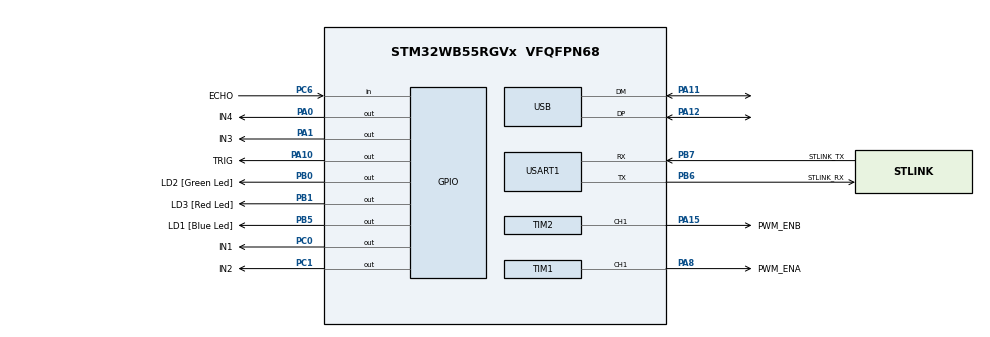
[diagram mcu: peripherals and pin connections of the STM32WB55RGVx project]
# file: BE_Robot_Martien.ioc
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Mcu.Family=STM32WB
Mcu.Name=STM32WB55RGVx
Mcu.Package=VFQFPN68
NVIC.PriorityGroup=NVIC_PRIORITYGROUP_4
OSC_IN.Signal=RCC_OSC_IN
OSC_OUT.Signal=RCC_OSC_OUT
PA0.GPIO_Label=IN4
PA0.Signal=GPIO_Output
PA1.GPIO_Label=IN3
PA1.Signal=GPIO_Output
PA10.GPIO_Label=TRIG
PA10.Signal=GPIO_Output
PA11.Mode=Device
PA11.Signal=USB_DM
PA12.Mode=Device
PA12.Signal=USB_DP
PA13.GPIO_Label=JTMS
PA13.Mode=Serial_Wire
PA13.Signal=SYS_JTMS-SWDIO
PA14.GPIO_Label=JTCK
PA14.Mode=Serial_Wire
PA14.Signal=SYS_JTCK-SWCLK
PA15.GPIO_Label=PWM_ENB
PA15.Signal=S_TIM2_CH1
PA8.GPIO_Label=PWM_ENA
PA8.Signal=S_TIM1_CH1
PB0.GPIO_Label=LD2 [Green Led]
PB0.Signal=GPIO_Output
PB1.GPIO_Label=LD3 [Red Led]
PB1.Signal=GPIO_Output
PB3.GPIO_Label=JTDO
PB3.Signal=SYS_JTDO-SWO
PB5.GPIO_Label=LD1 [Blue Led]
PB5.Signal=GPIO_Output
PB6.GPIO_Label=STLINK_RX
PB6.GPIO_PuPd=GPIO_PULLUP
PB6.Mode=Asynchronous
PB6.Signal=USART1_TX
PB7.GPIO_Label=STLINK_TX
PB7.GPIO_PuPd=GPIO_PULLUP
PB7.Mode=Asynchronous
PB7.Signal=USART1_RX
PC0.GPIO_Label=IN1
PC0.Signal=GPIO_Output
PC1.GPIO_Label=IN2
PC1.Signal=GPIO_Output
PC13.Mode=SYS_WakeUp1
PC13.Signal=SYS_WKUP2
PC14-OSC32_IN.Signal=RCC_OSC32_IN
PC15-OSC32_OUT.Signal=RCC_OSC32_OUT
PC6.GPIO_Label=ECHO
PC6.Signal=GPIO_Input
ProjectManager.HeapSize=0x200
ProjectManager.StackSize=0x400
ProjectManager.TargetToolchain=STM32CubeIDE
RCC.ADCFreq_Value=48000000
RCC.AHBFreq_Value=32000000
RCC.APB1Freq_Value=32000000
RCC.APB1TimFreq_Value=32000000
RCC.APB2Freq_Value=32000000
RCC.APB2TimFreq_Value=32000000
RCC.APB3Freq_Value=16000000
RCC.CortexFreq_Value=32000000
RCC.HCLKFreq_Value=32000000
RCC.HSE_VALUE=32000000
RCC.HSI48_VALUE=48000000
RCC.HSI_VALUE=16000000
RCC.LSE_VALUE=32768
RCC.PLLN=64
RCC.PLLR=RCC_PLLR_DIV8
RCC.PLLSAI1N=24
RCC.SMPSCLockSelection=RCC_SMPSCLKSOURCE_HSI
RCC.SMPSCLockSelectionVirtual=RCC_SMPSCLKSOURCE_HSI
RCC.SMPSCLockSelectionVirtualVirtual=RCC_SMPSCLKSOURCE_HSI
RCC.SMPSDivider=1
RCC.SYSCLKFreq_VALUE=32000000
RCC.SYSCLKSource=RCC_SYSCLKSOURCE_PLLCLK
RCC.USBFreq_Value=48000000
RCC.VCOOutputFreq_Value=256000000
SH.S_TIM1_CH1.0=TIM1_CH1,PWM Generation1 CH1
SH.S_TIM2_CH1.0=TIM2_CH1,PWM Generation1 CH1
TIM1.Channel-PWM\ Generation1\ CH1=TIM_CHANNEL_1
TIM1.Period=999
TIM1.Prescaler=31
TIM16.Prescaler=31
TIM2.Channel-PWM\ Generation1\ CH1=TIM_CHANNEL_1
TIM2.Period=999
TIM2.Prescaler=31
USART1.VirtualMode-Asynchronous=VM_ASYNC
USART1.WordLength=WORDLENGTH_7B
VP_MEMORYMAP_VS_MEMORYMAP.Mode=CurAppReg
VP_TIM16_VS_ClockSourceINT.Mode=Enable_Timer
VP_TIM1_VS_ClockSourceINT.Mode=Internal
VP_TIM2_VS_ClockSourceINT.Mode=Internal
board=NUCLEO-WB55RG

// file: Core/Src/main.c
/* USER CODE BEGIN Header */
/**
  ******************************************************************************
  * @file           : main.c
  * @brief          : Main program body
  ******************************************************************************
  * @attention
  *
  * Copyright (c) 2024 STMicroelectronics.
  * All rights reserved.
  *
  * This software is licensed under terms that can be found in the LICENSE file
  * in the root directory of this software component.
  * If no LICENSE file comes with this software, it is provided AS-IS.
  *
  ******************************************************************************
  */
/* USER CODE END Header */
#include "main.h"
#include "memorymap.h"
#include "tim.h"
#include "usart.h"
#include "usb.h"
#include "gpio.h"

/* USER CODE BEGIN PV */

/////*****CAPTEUR HC SR04********//////
#define TRIG_PIN GPIO_PIN_10 //definition du port en sortie
#define TRIG_PORT GPIOA
#define ECHO_PIN GPIO_PIN_6 // defnition du port en entree
#define ECHO_PORT GPIOC

uint32_t Value1 = 0; // l'instant quand echo passe à 1
uint32_t Value2 = 0; // l'instant quand echo passe à 0
uint16_t Distance  = 0;  // en cm

/////*****MOTEUR L298P********//////
const uint16_t pwm =100; // pour ajuster la vitesse des roues
//****Moteur Gauche********
#define IN1_PIN GPIO_PIN_0 //definition du port en sortie
#define IN1_PORT GPIOC
#define IN2_PIN GPIO_PIN_1 //definition du port en sortie
#define IN2_PORT GPIOC

//****Moteur Droite********
#define IN3_PIN GPIO_PIN_1 //definition du port en sortie
#define IN3_PORT GPIOA
#define IN4_PIN GPIO_PIN_0 //definition du port en sortie
#define IN4_PORT GPIOA

/* *****NOTE*********
PWM pour IN1 et IN2 -> PWM_ENA (Timer 1 Channel 1) // Roue Gauche
PWM pour IN2 et IN3 -> PWM_ENB (Timer 2 Channel 1) // Roue Droite
******************************************* */
// ********FIN NOTE*************

/* USER CODE END PV */

void SystemClock_Config(void);
void PeriphCommonClock_Config(void);

/* USER CODE BEGIN 0 */

// Fonction pour mesurer la distance entre le robot et un obstacle
uint16_t Mesure_Distance(void)
{
HAL_GPIO_WritePin(TRIG_PORT, TRIG_PIN, GPIO_PIN_SET);  // pull the TRIG pin HIGH
__HAL_TIM_SET_COUNTER(&htim16, 0);
while (__HAL_TIM_GET_COUNTER(&htim16) < 10);  // wait for 10 us
HAL_GPIO_WritePin(TRIG_PORT, TRIG_PIN, GPIO_PIN_RESET);  // pull the TRIG pin low

while (!(HAL_GPIO_ReadPin (ECHO_PORT, ECHO_PIN)) ); //Attendre que echo passe à l'état haut
Value1 = __HAL_TIM_GET_COUNTER(&htim16); // valeur du timer à laquelle echo passe à l'état haut

while ((HAL_GPIO_ReadPin (ECHO_PORT, ECHO_PIN))); //Attendre que echo passe à l'état bas
Value2 = __HAL_TIM_GET_COUNTER(&htim16); // valeur du timer à laquelle echo passe à l'état bas

// Value2-Value1 : durée pendant laquelle echo reste en etat haut
// On multiplie la moitié de cette durée par la vitesse de l'ultrason pour avoir la distance

Distance = ((Value2-Value1)* 0.034)/2;
HAL_Delay(50);
return Distance;
}

//Fonction pour clignoter la LED verte
void Blink_Green(void)
{
HAL_GPIO_WritePin(LD2_GPIO_Port, LD2_Pin, 1);
HAL_Delay(500);					/* Insert delay 500 ms */
HAL_GPIO_WritePin(LD2_GPIO_Port, LD2_Pin, 0);
HAL_Delay(200);					/* Insert delay 200 ms */
}

//Fonction pour clignoter la LED rouge
void Blink_Red(void)
{
HAL_GPIO_WritePin(LD3_GPIO_Port, LD3_Pin, 1);
HAL_Delay(500);					/* Insert delay 500 ms */
HAL_GPIO_WritePin(LD3_GPIO_Port, LD3_Pin, 0);
HAL_Delay(200);					/* Insert delay 200 ms */
}

// ********LES DIFFERENTS MOUVEMENTS DU ROBOT*******************

// fonction pour initialiser le moteur
void Init_Moteur(void)
{
	HAL_GPIO_WritePin(IN1_PORT, IN1_PIN, GPIO_PIN_RESET);
	HAL_GPIO_WritePin(IN2_PORT, IN2_PIN, GPIO_PIN_RESET);
	// Ajustez le rapport cyclique pour contrôler la vitesse
	__HAL_TIM_SET_COMPARE(&htim1, TIM_CHANNEL_1, pwm); //

	HAL_GPIO_WritePin(IN3_PORT, IN3_PIN, GPIO_PIN_RESET);
	HAL_GPIO_WritePin(IN4_PORT, IN4_PIN, GPIO_PIN_RESET);
	// Ajustez le rapport cyclique pour contrôler la vitesse
	__HAL_TIM_SET_COMPARE(&htim2, TIM_CHANNEL_1, pwm); //

	HAL_Delay(500); // Attendre 0,5 s
}

//fonction pour avancer 1001 (IN1=1 ; IN2=0, IN3=0 ; IN4=1)
void Move_Forward(void)
{
	HAL_GPIO_WritePin(IN1_PORT, IN1_PIN, GPIO_PIN_SET);
	HAL_GPIO_WritePin(IN2_PORT, IN2_PIN, GPIO_PIN_RESET);
	// Ajustez le rapport cyclique pour contrôler la vitesse
	__HAL_TIM_SET_COMPARE(&htim1, TIM_CHANNEL_1, pwm);

	HAL_GPIO_WritePin(IN3_PORT, IN3_PIN, GPIO_PIN_RESET);
	HAL_GPIO_WritePin(IN4_PORT, IN4_PIN, GPIO_PIN_SET);
	// Ajustez le rapport cyclique pour contrôler la vitesse
	__HAL_TIM_SET_COMPARE(&htim2, TIM_CHANNEL_1, pwm);

	HAL_Delay(500); // Attendre 0,5 s
}

//fonction pour reculer 0110 (IN1=0 ; IN2=1, IN3=1 ; IN4=0)
void Move_Backward(void)
{
	HAL_GPIO_WritePin(IN1_PORT, IN1_PIN, GPIO_PIN_RESET);
	HAL_GPIO_WritePin(IN2_PORT, IN2_PIN, GPIO_PIN_SET);
	// Ajustez le rapport cyclique pour contrôler la vitesse
	__HAL_TIM_SET_COMPARE(&htim1, TIM_CHANNEL_1, pwm);

	HAL_GPIO_WritePin(IN3_PORT, IN3_PIN, GPIO_PIN_SET);
	HAL_GPIO_WritePin(IN4_PORT, IN4_PIN, GPIO_PIN_RESET);
	// Ajustez le rapport cyclique pour contrôler la vitesse
	__HAL_TIM_SET_COMPARE(&htim2, TIM_CHANNEL_1, pwm);

	HAL_Delay(500); // Attendre 0,5 s
}

//fonction pour arreter (IN1=0 ; IN2=0, IN3=0 ; IN4=0)
void Stop(void)
{
	HAL_GPIO_WritePin(IN1_PORT, IN1_PIN, GPIO_PIN_RESET);
	HAL_GPIO_WritePin(IN2_PORT, IN2_PIN, GPIO_PIN_RESET);
	// Ajustez le rapport cyclique pour contrôler la vitesse
	__HAL_TIM_SET_COMPARE(&htim1, TIM_CHANNEL_1, pwm);
	HAL_GPIO_WritePin(IN3_PORT, IN3_PIN, GPIO_PIN_RESET);
	HAL_GPIO_WritePin(IN4_PORT, IN4_PIN, GPIO_PIN_RESET);
	// Ajustez le rapport cyclique pour contrôler la vitesse
	__HAL_TIM_SET_COMPARE(&htim2, TIM_CHANNEL_1, pwm);

	HAL_Delay(500); // Attendre 0,5 s
}

//fonction pour tourner a droite 1000 (IN1=1 ; IN2=0, IN3=0 ; IN4=0)
void Turn_Right(void)
{
	HAL_GPIO_WritePin(IN1_PORT, IN1_PIN, GPIO_PIN_SET);
	HAL_GPIO_WritePin(IN2_PORT, IN2_PIN, GPIO_PIN_RESET);
	// Ajustez le rapport cyclique pour contrôler la vitesse
	__HAL_TIM_SET_COMPARE(&htim1, TIM_CHANNEL_1, pwm);

	HAL_GPIO_WritePin(IN3_PORT, IN3_PIN, GPIO_PIN_RESET);
	HAL_GPIO_WritePin(IN4_PORT, IN4_PIN, GPIO_PIN_RESET);
	// Ajustez le rapport cyclique pour contrôler la vitesse
	__HAL_TIM_SET_COMPARE(&htim2, TIM_CHANNEL_1, pwm);

	HAL_Delay(500); // Attendre 0,5 s
}

//fonction pour tourner a gauche 0001 (IN1=0 ; IN2=0, IN3=0 ; IN4=1)
void Turn_Left(void)
{
	HAL_GPIO_WritePin(IN1_PORT, IN1_PIN, GPIO_PIN_RESET);
	HAL_GPIO_WritePin(IN2_PORT, IN2_PIN, GPIO_PIN_RESET);
	// Ajustez le rapport cyclique pour contrôler la vitesse
	__HAL_TIM_SET_COMPARE(&htim1, TIM_CHANNEL_1, pwm);

	HAL_GPIO_WritePin(IN3_PORT, IN3_PIN, GPIO_PIN_RESET);
	HAL_GPIO_WritePin(IN4_PORT, IN4_PIN, GPIO_PIN_SET);
	// Ajustez le rapport cyclique pour contrôler la vitesse
	__HAL_TIM_SET_COMPARE(&htim2, TIM_CHANNEL_1, pwm);

	HAL_Delay(500); // Attendre 0,5 s
}
/* USER CODE END 0 */

int main(void)
{

  /* MCU Configuration--------------------------------------------------------*/

  /* Reset of all peripherals, Initializes the Flash interface and the Systick. */
  HAL_Init();

  /* Configure the system clock */
  SystemClock_Config();

/* Configure the peripherals common clocks */
  PeriphCommonClock_Config();

  /* Initialize all configured peripherals */
  MX_GPIO_Init();
  MX_USART1_UART_Init();
  MX_USB_PCD_Init();
  MX_TIM1_Init();
  MX_TIM2_Init();
  MX_TIM16_Init();
  /* USER CODE BEGIN 2 */
  HAL_TIM_Base_Start(&htim16);
  HAL_TIM_PWM_Start(&htim1, TIM_CHANNEL_1);
  HAL_TIM_PWM_Start(&htim2, TIM_CHANNEL_1);
  HAL_GPIO_WritePin(TRIG_PORT, TRIG_PIN, GPIO_PIN_RESET);  // pull the TRIG pin low
  Init_Moteur();

  //uint16_t Distance1 = 0;
  /* USER CODE END 2 */

  /* Infinite loop */
  while (1)
  {

    /* USER CODE BEGIN 3 */

	  uint16_t distance = 0; // Initialisation de la distance

	      // Mesure la distance pendant que le robot avance
	      while (1)
	      {
	          distance = Mesure_Distance(); // Mesurer la distance

	          if (distance <= 10)
	          {
	              // Obstacle détecté à moins de 10cm, déclenche l'évitement
	              // Séquence : reculer, tourner, vérifier à nouveau la distance
	              Blink_Red();
	              Move_Backward();
	              HAL_Delay(50);
	              Turn_Right();
	              HAL_Delay(50);
	              distance = Mesure_Distance();
	              if (distance <= 10)
	              {
	                  continue; // Répéter l'évitement si l'obstacle est toujours détecté
	              }
	              Move_Forward();
	              HAL_Delay(50);
	          } else {
	              // Pas d'obstacle, avance normalement
	              Blink_Green();
	              Move_Forward();
	              HAL_Delay(50);
	          }
	      }
  } // end while
  /* USER CODE END 3 */
}

void SystemClock_Config(void)
{
  RCC_OscInitTypeDef RCC_OscInitStruct = {0};
  RCC_ClkInitTypeDef RCC_ClkInitStruct = {0};

  /** Configure the main internal regulator output voltage
  */
  __HAL_PWR_VOLTAGESCALING_CONFIG(PWR_REGULATOR_VOLTAGE_SCALE1);

  /** Initializes the RCC Oscillators according to the specified parameters
  * in the RCC_OscInitTypeDef structure.
  */
  RCC_OscInitStruct.OscillatorType = RCC_OSCILLATORTYPE_HSI|RCC_OSCILLATORTYPE_LSE
                              |RCC_OSCILLATORTYPE_MSI;
  RCC_OscInitStruct.LSEState = RCC_LSE_OFF;
  RCC_OscInitStruct.HSIState = RCC_HSI_ON;
  RCC_OscInitStruct.MSIState = RCC_MSI_ON;
  RCC_OscInitStruct.HSICalibrationValue = RCC_HSICALIBRATION_DEFAULT;
  RCC_OscInitStruct.MSICalibrationValue = RCC_MSICALIBRATION_DEFAULT;
  RCC_OscInitStruct.MSIClockRange = RCC_MSIRANGE_6;
  RCC_OscInitStruct.PLL.PLLState = RCC_PLL_ON;
  RCC_OscInitStruct.PLL.PLLSource = RCC_PLLSOURCE_MSI;
  RCC_OscInitStruct.PLL.PLLM = RCC_PLLM_DIV1;
  RCC_OscInitStruct.PLL.PLLN = 64;
  RCC_OscInitStruct.PLL.PLLP = RCC_PLLP_DIV2;
  RCC_OscInitStruct.PLL.PLLR = RCC_PLLR_DIV8;
  RCC_OscInitStruct.PLL.PLLQ = RCC_PLLQ_DIV2;
  if (HAL_RCC_OscConfig(&RCC_OscInitStruct) != HAL_OK)
  {
    Error_Handler();
  }

  /** Configure the SYSCLKSource, HCLK, PCLK1 and PCLK2 clocks dividers
  */
  RCC_ClkInitStruct.ClockType = RCC_CLOCKTYPE_HCLK4|RCC_CLOCKTYPE_HCLK2
                              |RCC_CLOCKTYPE_HCLK|RCC_CLOCKTYPE_SYSCLK
                              |RCC_CLOCKTYPE_PCLK1|RCC_CLOCKTYPE_PCLK2;
  RCC_ClkInitStruct.SYSCLKSource = RCC_SYSCLKSOURCE_PLLCLK;
  RCC_ClkInitStruct.AHBCLKDivider = RCC_SYSCLK_DIV1;
  RCC_ClkInitStruct.APB1CLKDivider = RCC_HCLK_DIV1;
  RCC_ClkInitStruct.APB2CLKDivider = RCC_HCLK_DIV1;
  RCC_ClkInitStruct.AHBCLK2Divider = RCC_SYSCLK_DIV1;
  RCC_ClkInitStruct.AHBCLK4Divider = RCC_SYSCLK_DIV1;

  if (HAL_RCC_ClockConfig(&RCC_ClkInitStruct, FLASH_LATENCY_1) != HAL_OK)
  {
    Error_Handler();
  }

  /** Enable MSI Auto calibration
  */
  HAL_RCCEx_EnableMSIPLLMode();
}

void PeriphCommonClock_Config(void)
{
  RCC_PeriphCLKInitTypeDef PeriphClkInitStruct = {0};

  /** Initializes the peripherals clock
  */
  PeriphClkInitStruct.PeriphClockSelection = RCC_PERIPHCLK_SMPS;
  PeriphClkInitStruct.SmpsClockSelection = RCC_SMPSCLKSOURCE_HSI;
  PeriphClkInitStruct.SmpsDivSelection = RCC_SMPSCLKDIV_RANGE0;

  if (HAL_RCCEx_PeriphCLKConfig(&PeriphClkInitStruct) != HAL_OK)
  {
    Error_Handler();
  }
}

void Error_Handler(void)
{
  __disable_irq();
  while (1)
  {
  }
}
